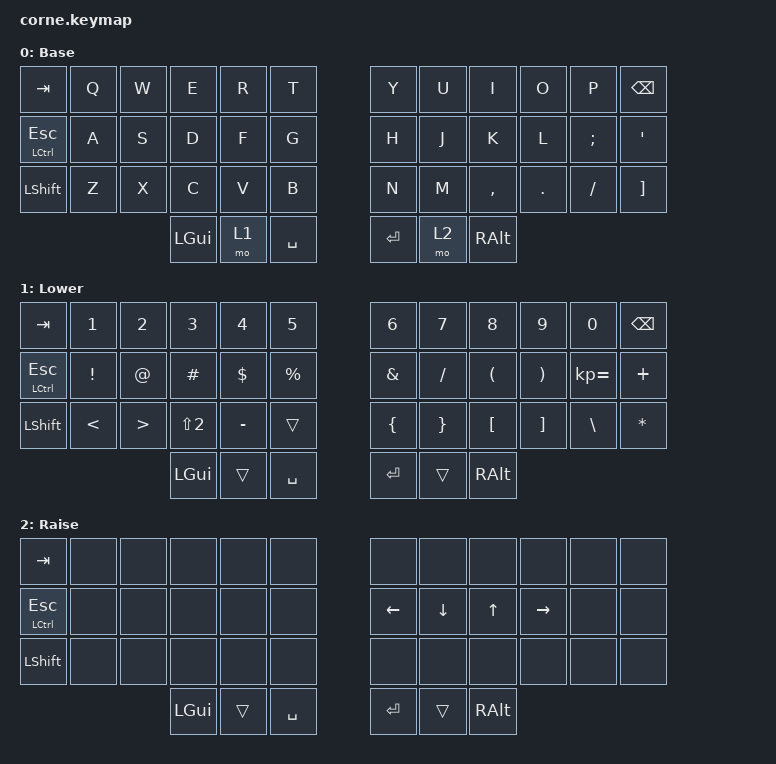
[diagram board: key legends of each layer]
/*
 * Copyright (c) 2020 The ZMK Contributors
 *
 * SPDX-License-Identifier: MIT
 */

#include <behaviors.dtsi>
#include <dt-bindings/zmk/keys.h>

/ {
    keymap {
        compatible = "zmk,keymap";

        default_layer {
            // -----------------------------------------------------------------------------------------
            // |  TAB |  Q  |  W  |  E  |  R  |  T  |   |  Y  |  U   |  I  |  O  |  P  | BKSP |
            // | CTRL |  A  |  S  |  D  |  F  |  G  |   |  H  |  J   |  K  |  L  |  ;  |  '   |
            // | SHFT |  Z  |  X  |  C  |  V  |  B  |   |  N  |  M   |  ,  |  .  |  /  | ESC  |
            //                    | GUI | LWR | SPC |   | ENT | RSE  | ALT |

            display-name = "Base";
            bindings = <
&kp TAB           &kp Q  &kp W  &kp E     &kp R  &kp T        &kp Y    &kp U  &kp I      &kp O    &kp P     &kp BSPC
&mt LCTRL ESCAPE  &kp A  &kp S  &kp D     &kp F  &kp G        &kp H    &kp J  &kp K      &kp L    &kp SEMI  &kp SQT
&kp LSHFT         &kp Z  &kp X  &kp C     &kp V  &kp B        &kp N    &kp M  &kp COMMA  &kp DOT  &kp FSLH  &kp RIGHT_BRACKET
                                &kp LGUI  &mo 1  &kp SPACE    &kp RET  &mo 2  &kp RALT
            >;
        };

        lower_layer {
            // -----------------------------------------------------------------------------------------
            // |  TAB |  1  |  2  |  3  |  4  |  5  |   |  6  |  7  |  8  |  9  |  0  | BKSP |
            // | BTCLR| BT1 | BT2 | BT3 | BT4 | BT5 |   | LFT | DWN |  UP | RGT |     |      |
            // | SHFT |     |     |     |     |     |   |     |     |     |     |     |      |
            //                    | GUI |     | SPC |   | ENT |     | ALT |

            display-name = "Lower";
            bindings = <
&kp TAB                  &kp N1         &kp N2  &kp N3            &kp N4      &kp N5         &kp N6          &kp N7           &kp N8                &kp N9                 &kp N0         &kp BSPC
&mt LEFT_CONTROL ESCAPE  &kp EXCL       &kp AT  &kp HASH          &kp DOLLAR  &kp PERCENT    &kp AMPERSAND   &kp SLASH        &kp LEFT_PARENTHESIS  &kp RIGHT_PARENTHESIS  &kp KP_EQUAL   &kp PLUS
&kp LSHFT                &kp LESS_THAN  &kp GT  &kp LS(NUMBER_2)  &kp MINUS   &trans         &kp LEFT_BRACE  &kp RIGHT_BRACE  &kp LEFT_BRACKET      &kp RIGHT_BRACKET      &kp BACKSLASH  &kp ASTRK
                                                &kp LGUI          &trans      &kp SPACE      &kp RET         &trans           &kp RALT
            >;
        };

        raise_layer {
            // -----------------------------------------------------------------------------------------
            // |  TAB |  !  |  @  |  #  |  $  |  %  |   |  ^  |  &  |  *  |  (  |  )  | BKSP |
            // | CTRL |     |     |     |     |     |   |  -  |  =  |  [  |  ]  |  \  |  `   |
            // | SHFT |     |     |     |     |     |   |  _  |  +  |  {  |  }  | "|" |  ~   |
            //                    | GUI |     | SPC |   | ENT |     | ALT |

            display-name = "Raise";
            bindings = <
&kp TAB           &none  &none  &none     &none   &none        &none     &none     &none         &none      &none  &none
&mt LCTRL ESCAPE  &none  &none  &none     &none   &none        &kp LEFT  &kp DOWN  &kp UP_ARROW  &kp RIGHT  &none  &none
&kp LSHFT         &none  &none  &none     &none   &none        &none     &none     &none         &none      &none  &none
                                &kp LGUI  &trans  &kp SPACE    &kp RET   &trans    &kp RALT
            >;
        };

        extra_1 { status = "reserved"; };

        extra_2 { status = "reserved"; };

        extra_3 { status = "reserved"; };
    };
};
